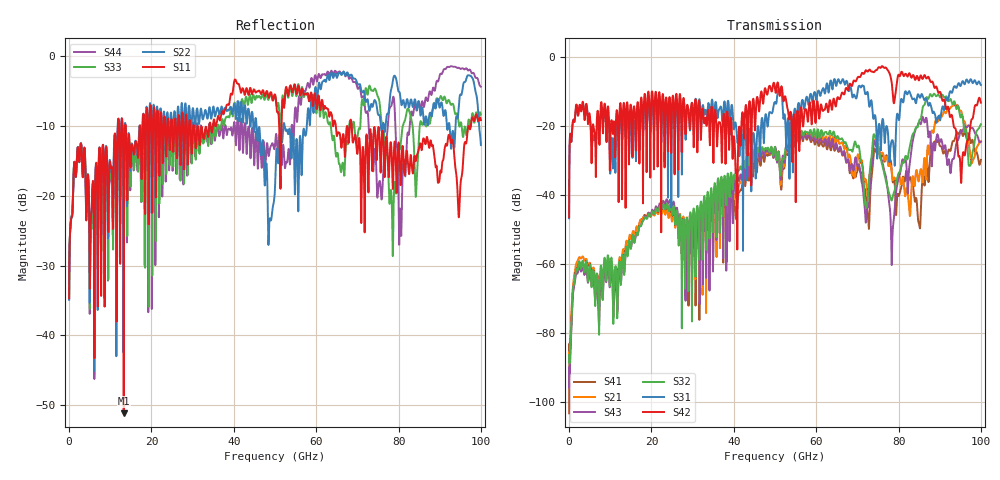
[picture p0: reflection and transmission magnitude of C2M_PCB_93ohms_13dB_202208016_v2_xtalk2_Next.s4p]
! Info: Touchstone file created by Circ.  Input file=Intel_C2M_200G_3p0in_202208016_staggered.circ
# Hz S RI R 50
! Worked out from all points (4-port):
!   10000 points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, 10 MHz to 100 GHz, reference 50 ohm
!   strongest paths, dB at 10 MHz, 25.01 GHz, 50.01 GHz, 75.01 GHz, 100 GHz:
!     S42: -46.6, -14.2, -9.3, -3.2, -13.3
!     S31: -46.9, -17.3, -13.1, -23.0, -8.2
!     S32: -86.5, -46.1, -26.2, -25.9, -19.6
!     S43: -94.9, -43.2, -26.2, -26.3, -24.6
!     S21: -87.2, -47.8, -26.5, -25.8, -24.6
!     S41: -103.4, -44.9, -26.7, -27.2, -29.9
!   lowest |S11| = -51.2 dB at 13.28 GHz (marker M1), VSWR 1.01, Z = 50.1 - j0.265 ohm
!   |S11| at or under -10 dB: start of sweep to 11.85 GHz; 13.75 GHz to 17.15 GHz (3.403 GHz wide, 22 % of centre); 68.62 GHz to 96.98 GHz (28.36 GHz wide, 34.2 % of centre)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
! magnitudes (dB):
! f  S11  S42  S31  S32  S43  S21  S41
! 10 MHz  -34.7  -46.6  -46.9  -86.5  -94.9  -87.2  -103.4
! 13.28 GHz  -51.2  -13.4  -16.7  -61.3  -61.5  -56.3  -57.1
! 56.66 GHz  -4.7  -18.3  -12.5  -22.1  -23.7  -22.4  -24.2
! 78.49 GHz  -17.0  -9.1  -24.2  -41.1  -53.1  -35.1  -35.2
! 85.48 GHz  -13.0  -5.5  -11.2  -17.7  -19.4  -32.6  -42.7
! 95.02 GHz  -18.6  -31.8  -8.5  -17.5  -21.8  -15.6  -21.4
! 100 GHz  -9.1  -13.3  -8.2  -19.6  -24.6  -24.6  -29.9
